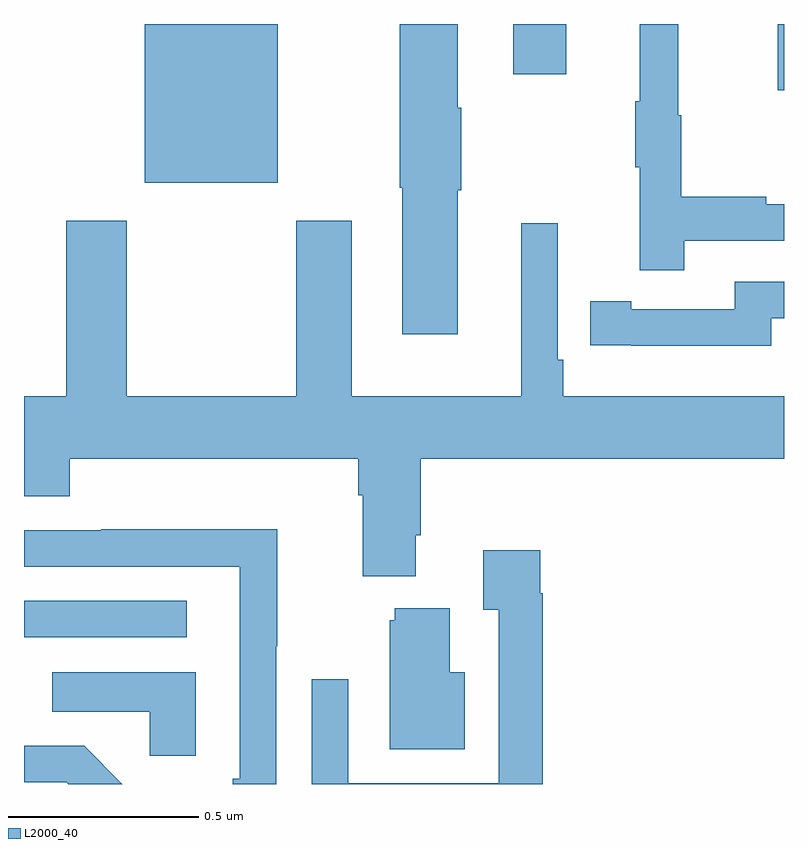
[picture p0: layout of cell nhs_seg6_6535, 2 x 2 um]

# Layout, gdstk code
import gdstk
lib = gdstk.Library(unit=1e-6, precision=1e-09)
def R(c, l, rs):  # rectangles x0, y0, x1, y1
    for r in rs: c.add(gdstk.rectangle(r[:2], r[2:], *l))
def P(c, l, *ps):  # polygons
    for p in ps: c.add(gdstk.Polygon(p, *l))
L2000_40 = (2000, 40)

nhs_seg6_6535 = lib.new_cell('nhs_seg6_6535')
R(nhs_seg6_6535, L2000_40, [(197,926.886,197.428,926.982), (197.318,928.082,197.668,928.5), (198.983,928.326,199,928.5), (198.287,928.368,198.427,928.5)])
P(nhs_seg6_6535, L2000_40, [(198.737,927.93),(199,927.93),(199,928.026),(198.953,928.026),(198.953,928.046),(198.73,928.046),(198.73,928.26),(198.722,928.26),(198.722,928.5),(198.62,928.5),(198.62,928.297),(198.609,928.297),(198.609,928.123),(198.62,928.123),(198.62,927.852),(198.737,927.852)],
  [(198.142,928.063),(198.15,928.063),(198.15,928.28),(198.142,928.28),(198.142,928.5),(197.989,928.5),(197.989,928.069),(197.996,928.069),(197.996,927.684),(198.142,927.684)],
  [(198.031,927.154),(198.044,927.154),(198.044,927.356),(199,927.356),(199,927.52),(198.419,927.52),(198.419,927.616),(198.405,927.616),(198.405,927.976),(198.308,927.976),(198.308,927.52),(197.863,927.52),(197.863,927.982),(197.716,927.982),(197.716,927.52),(197.271,927.52),(197.271,927.982),(197.111,927.982),(197.111,927.52),(197,927.52),(197,927.257),(197.12,927.257),(197.12,927.356),(197.879,927.356),(197.879,927.26),(197.891,927.26),(197.891,927.047),(198.031,927.047)],
  [(198.966,927.726),(199,927.726),(199,927.822),(198.87,927.822),(198.87,927.75),(198.598,927.75),(198.598,927.77),(198.49,927.77),(198.49,927.654),(198.598,927.654),(198.598,927.653),(198.966,927.653)],
  [(197.664,926.863),(197.667,926.863),(197.667,927.17),(197.203,927.17),(197.203,927.168),(197,927.168),(197,927.072),(197.568,927.072),(197.568,926.514),(197.549,926.514),(197.549,926.5),(197.664,926.5)],
  [(198.365,927.002),(198.358,927.002),(198.358,927.115),(198.209,927.115),(198.209,926.959),(198.249,926.959),(198.249,926.502),(197.853,926.502),(197.853,926.776),(197.757,926.776),(197.757,926.5),(198.365,926.5)],
  [(198.16,926.794),(198.121,926.794),(198.121,926.962),(197.975,926.962),(197.975,926.931),(197.963,926.931),(197.963,926.591),(198.16,926.591)],
  [(197.452,926.794),(197.074,926.794),(197.074,926.69),(197.331,926.69),(197.331,926.575),(197.452,926.575)],
  [(197.158,926.601),(197,926.601),(197,926.505),(197.112,926.505),(197.117,926.5),(197.259,926.5)])

lib.write_gds('nhs_seg6_6535.gds')
